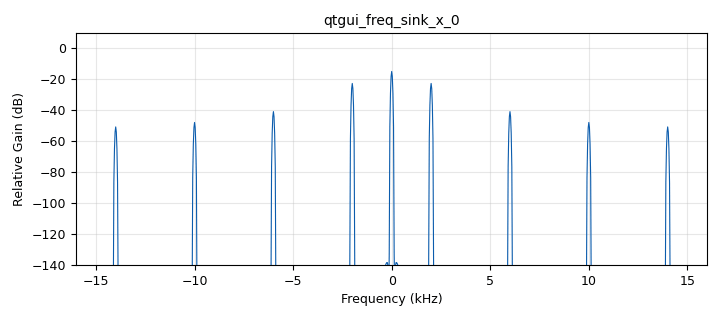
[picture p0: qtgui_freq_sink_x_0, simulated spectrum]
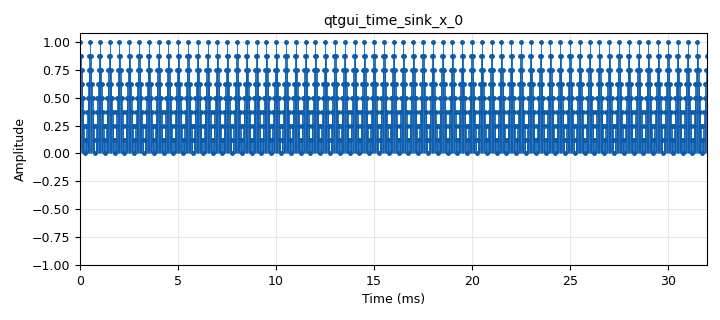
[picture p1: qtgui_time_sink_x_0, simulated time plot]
options:
  parameters:
    generate_options: qt_gui
    id: juan_luengas_nicolas_velasco_E1A_G2
    output_language: python
    title: nyquist
  states: {}

blocks:
- name: F
  id: variable_qtgui_range
  parameters:
    label: Frequency
    start: '1000'
    step: '1000'
    stop: '40000'
    value: '2000'
  states: {}
- name: samp_rate
  id: variable
  parameters:
    value: '32000'
  states: {}
- name: analog_sig_source_x_0
  id: analog_sig_source_x
  parameters:
    amp: '1'
    freq: F
    offset: '0'
    phase: '0'
    samp_rate: samp_rate
    type: float
    waveform: analog.GR_TRI_WAVE
  states: {}
- name: blocks_throttle_0
  id: blocks_throttle
  parameters:
    samples_per_second: samp_rate
    type: float
  states: {}
- name: qtgui_freq_sink_x_0
  id: qtgui_freq_sink_x
  parameters:
    bw: samp_rate
    fc: '0'
    fftsize: '1024'
    type: float
  states: {}
- name: qtgui_time_sink_x_0
  id: qtgui_time_sink_x
  parameters:
    size: '1024'
    srate: samp_rate
    stemplot: 'True'
    type: float
  states: {}

connections:
- [analog_sig_source_x_0, '0', blocks_throttle_0, '0']
- [blocks_throttle_0, '0', qtgui_freq_sink_x_0, '0']
- [blocks_throttle_0, '0', qtgui_time_sink_x_0, '0']

metadata:
  file_format: 1
  grc_version: 3.9.8.0
